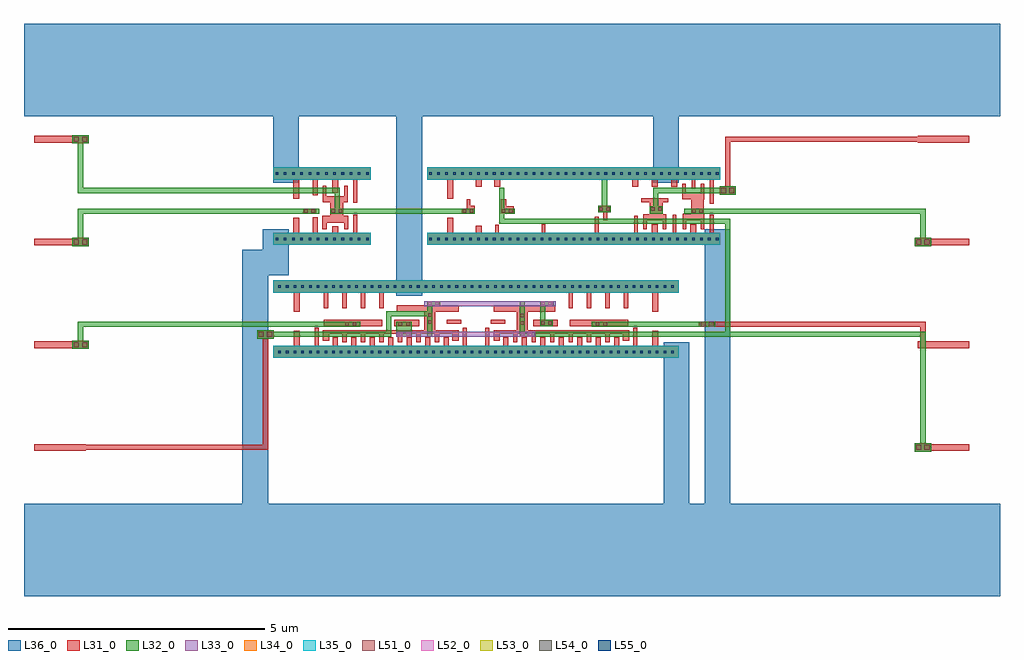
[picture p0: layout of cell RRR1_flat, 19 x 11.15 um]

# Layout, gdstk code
import gdstk
lib = gdstk.Library(unit=1e-6, precision=1e-09)
def R(c, l, rs):  # rectangles x0, y0, x1, y1
    for r in rs: c.add(gdstk.rectangle(r[:2], r[2:], *l))
def A(c, l, x, y, w, h, nx, ny, dx, dy):  # array of equal rectangles
    R(c, l, [(x+i*dx, y+j*dy, x+i*dx+w, y+j*dy+h) for i in range(nx) for j in range(ny)])
L31_0 = (31, 0)
L32_0 = (32, 0)
L33_0 = (33, 0)
L34_0 = (34, 0)
L35_0 = (35, 0)
L36_0 = (36, 0)
L51_0 = (51, 0)
L52_0 = (52, 0)
L53_0 = (53, 0)
L54_0 = (54, 0)
L55_0 = (55, 0)

rrr1_flat = lib.new_cell('RRR1_flat')
A(rrr1_flat, L31_0, -0.5, -0.065, 1, 0.13, 1, 4, 0, 2)
A(rrr1_flat, L31_0, 16.7, -0.065, 1, 0.13, 1, 4, 0, 2)
A(rrr1_flat, L31_0, 0.24, 1.92, 0.32, 0.16, 1, 3, 0, 2)
A(rrr1_flat, L31_0, 5.31, 1.98, 0.1, 0.16, 7, 1, 0.36, 0)
A(rrr1_flat, L31_0, 8.63, 1.98, 0.1, 0.16, 7, 1, 0.36, 0)
A(rrr1_flat, L31_0, 5.5, 2.05, 0.08, 0.23, 5, 1, 0.36, 0)
A(rrr1_flat, L31_0, 9.54, 2.05, 0.08, 0.23, 4, 1, 0.36, 0)
A(rrr1_flat, L31_0, 5.58, 2.21, 0.28, 0.07, 4, 1, 0.36, 0)
A(rrr1_flat, L31_0, 9.62, 2.21, 0.28, 0.07, 3, 1, 0.36, 0)
A(rrr1_flat, L31_0, 5.14, 2.71, 0.08, 0.54, 4, 1, 0.36, 0)
A(rrr1_flat, L31_0, 9.9, 2.71, 0.08, 0.54, 4, 1, 0.36, 0)
A(rrr1_flat, L31_0, 5.22, 3.01, 0.28, 0.24, 3, 1, 0.36, 0)
A(rrr1_flat, L31_0, 9.98, 3.01, 0.28, 0.24, 3, 1, 0.36, 0)
A(rrr1_flat, L31_0, 11.14, 5.075, 0.12, 0.375, 3, 1, 0.38, 0)
R(rrr1_flat, L31_0, [(16.64,-0.08,16.96,0.08), (0.35,-0.05,4.05,0.05), (3.95,-0.05,4.05,2.25), (4.15,1.75,4.89,1.98), (4.89,1.75,8.14,1.98), (8.06,1.75,11.31,1.98), (11.31,1.75,12.05,1.98), (16.75,1.95,16.85,2.45), (4.55,1.98,4.67,2.275), (4.96,1.98,5.04,2.33), (7.84,1.98,7.92,2.33), (8.28,1.98,8.36,2.33), (11.16,1.98,11.24,2.33), (11.53,1.98,11.65,2.275), (7.3,2.05,7.38,2.21), (8.82,2.05,8.895,2.28), (8.895,2.05,8.9,2.77), (9.18,2.05,9.26,2.21), (5.12,2.075,5.24,2.28), (7.64,2.075,7.76,2.21), (8.44,2.075,8.56,2.28), (10.96,2.075,11.08,2.28), (3.84,2.12,4.16,2.28), (5.24,2.21,5.5,2.28), (7.02,2.21,7.76,2.28), (8.56,2.21,8.82,2.28), (8.9,2.21,9.105,2.77), (9.105,2.21,9.54,2.28), (10.7,2.21,10.96,2.28), (7.095,2.28,7.305,2.77), (12.44,2.35,12.76,2.45), (12.55,2.35,16.85,2.45), (5.135,2.36,6.275,2.49), (6.51,2.36,6.99,2.49), (9.21,2.36,9.69,2.49), (9.925,2.36,11.065,2.49), (7.53,2.405,7.81,2.49), (8.39,2.405,8.67,2.49), (6.56,2.64,7.095,2.77), (7.305,2.64,7.76,2.77), (8.44,2.64,8.895,2.77), (9.105,2.64,9.64,2.77), (4.55,2.645,4.67,3.25), (11.53,2.645,11.65,3.25), (4.15,3.01,4.55,3.25), (4.67,3.01,4.89,3.25), (4.89,3.01,5.14,3.25), (6.3,3.01,8.14,3.25), (8.06,3.01,9.9,3.25), (11.06,3.01,11.31,3.25), (11.31,3.01,11.53,3.25), (11.65,3.01,12.05,3.25), (16.64,3.92,16.96,4.08), (4.15,3.95,4.88,4.18), (4.88,3.95,6.05,4.18), (7.15,3.95,7.88,4.18), (7.88,3.95,12.85,4.18), (4.54,4.18,4.66,4.475), (4.92,4.18,5.02,4.48), (5.3,4.18,5.42,4.305), (5.71,4.18,5.79,4.53), (7.54,4.18,7.66,4.475), (8.09,4.18,8.21,4.315), (8.475,4.18,8.545,4.335), (9.38,4.18,9.45,4.345), (10.415,4.18,10.485,4.495), (11.175,4.18,11.245,4.51), (11.52,4.18,11.64,4.34), (11.925,4.18,11.995,4.53), (12.27,4.18,12.39,4.34), (12.65,4.18,12.73,4.53), (5.11,4.25,5.19,4.51), (5.53,4.25,5.61,4.375), (11.355,4.25,11.425,4.54), (11.735,4.25,11.805,4.42), (12.12,4.25,12.19,4.55), (12.475,4.25,12.535,5.13), (12.535,4.25,12.545,4.55), (5.19,4.375,5.61,4.51), (10.575,4.42,10.65,4.705), (11.425,4.42,11.805,4.54), (12.19,4.42,12.285,4.55), (12.285,4.42,12.475,4.97), (5.265,4.51,5.515,4.77), (11.485,4.54,11.735,4.85), (4.735,4.55,4.985,4.65), (7.82,4.55,8.07,4.65), (7.915,4.55,8.07,4.705), (8.58,4.555,8.83,4.69), (10.475,4.575,10.575,4.705), (10.65,4.575,10.725,4.705), (8.58,4.69,8.685,4.83), (7.915,4.705,7.985,4.835), (12.65,4.745,12.73,5.21), (5.71,4.76,5.79,5.21), (5.115,4.77,5.185,5.095), (5.185,4.77,5.605,4.885), (11.32,4.77,11.485,4.85), (11.735,4.77,11.84,4.85), (12.115,4.83,12.185,5.13), (12.185,4.83,12.285,4.97), (12.535,4.83,12.545,5.13), (4.54,4.845,4.66,5.45), (7.54,4.845,7.66,5.45), (5.535,4.885,5.605,5.095), (4.92,4.91,5.02,5.21), (12.84,4.92,13.16,5.08), (12.95,4.95,13.05,6.05), (5.3,4.955,5.42,5.45), (12.295,5.04,12.365,5.45), (8.09,5.075,8.21,5.45), (8.45,5.075,8.57,5.45), (4.15,5.21,4.54,5.45), (4.66,5.21,4.88,5.45), (4.88,5.21,5.3,5.45), (5.42,5.21,6.05,5.45), (7.15,5.21,7.54,5.45), (7.66,5.21,7.88,5.45), (7.88,5.21,8.09,5.45), (8.21,5.21,8.45,5.45), (8.57,5.21,11.14,5.45), (11.26,5.21,11.52,5.45), (11.64,5.21,11.9,5.45), (12.02,5.21,12.295,5.45), (12.365,5.21,12.85,5.45), (12.95,5.95,16.85,6.05)])
A(rrr1_flat, L32_0, 0.24, 1.92, 0.32, 0.16, 1, 3, 0, 2)
R(rrr1_flat, L32_0, [(16.64,-0.08,16.96,0.08), (16.75,-0.05,16.85,2.25), (4.15,1.75,12.05,1.98), (0.35,1.95,0.45,2.45), (3.84,2.12,4.16,2.28), (3.95,2.15,6.45,2.25), (6.35,2.15,6.45,2.65), (6.55,2.15,6.85,2.45), (7.15,2.15,7.25,2.85), (8.95,2.15,9.21,2.25), (8.95,2.15,9.05,2.85), (8.95,2.15,13.05,2.25), (12.95,2.15,13.05,4.45), (12.95,2.15,16.85,2.25), (0.35,2.35,4.25,2.45), (4.15,2.35,5.85,2.45), (10.35,2.35,12.05,2.45), (11.95,2.35,12.65,2.45), (12.44,2.35,12.76,2.45), (9.35,2.36,9.59,2.49), (9.35,2.36,9.45,2.85), (6.35,2.55,7.25,2.65), (7.16,2.75,7.4,2.85), (9.35,2.75,9.61,2.85), (4.15,3.01,12.05,3.25), (16.64,3.92,16.96,4.08), (0.35,3.95,0.45,4.65), (4.15,3.95,6.05,4.18), (7.15,3.95,12.85,4.18), (16.75,3.95,16.85,4.65), (8.55,4.35,13.05,4.45), (8.55,4.35,8.65,4.65), (0.35,4.55,4.25,4.65), (4.15,4.55,5.05,4.65), (5.265,4.55,6.05,4.65), (5.35,4.55,5.45,5.05), (5.95,4.55,7.25,4.65), (7.15,4.55,8.07,4.65), (8.55,4.55,8.65,5.055), (8.55,4.55,8.85,4.65), (11.485,4.55,11.735,4.695), (11.55,4.55,11.65,5.05), (12.15,4.55,12.85,4.65), (12.75,4.55,16.85,4.65), (10.475,4.575,10.725,4.705), (10.55,4.575,10.65,5.45), (12.84,4.92,13.16,5.08), (0.35,4.95,5.45,5.05), (0.35,4.95,0.45,6.05), (11.55,4.95,13.05,5.05), (4.15,5.21,6.05,5.45), (7.15,5.21,12.85,5.45)])
R(rrr1_flat, L33_0, [(4.15,1.75,12.05,1.98), (6.55,2.15,9.25,2.25), (7.095,2.75,9.65,2.85), (4.15,3.01,12.05,3.25), (4.15,3.95,6.05,4.18), (7.15,3.95,12.85,4.18), (4.15,5.21,6.05,5.45), (7.15,5.21,12.85,5.45)])
R(rrr1_flat, L34_0, [(4.15,1.75,12.05,1.98), (4.15,3.01,12.05,3.25), (4.15,3.95,6.05,4.18), (7.15,3.95,12.85,4.18), (4.15,5.21,6.05,5.45), (7.15,5.21,12.85,5.45)])
R(rrr1_flat, L35_0, [(4.15,1.75,12.05,1.98), (4.15,3.01,12.05,3.25), (4.15,3.95,6.05,4.18), (7.15,3.95,12.85,4.18), (4.15,5.21,6.05,5.45), (7.15,5.21,12.85,5.45)])
R(rrr1_flat, L36_0, [(-0.7,-2.9,18.3,-1.1), (3.55,-1.45,4.05,3.85), (11.75,-1.45,12.25,2.05), (12.55,-1.45,13.05,4.25), (4.15,1.75,12.05,1.98), (6.55,2.95,7.05,6.85), (4.15,3.01,12.05,3.25), (3.55,3.35,4.45,3.85), (3.95,3.35,4.45,4.25), (4.15,3.95,6.05,4.18), (7.15,3.95,12.85,4.18), (4.15,5.15,4.65,6.85), (11.55,5.15,12.05,6.85), (4.15,5.21,6.05,5.45), (7.15,5.21,12.85,5.45), (-0.7,6.45,18.3,8.25)])
A(rrr1_flat, L51_0, 4.25, 1.835, 0.05, 0.05, 52, 2, 0.15, 1.27)
A(rrr1_flat, L51_0, 0.27, 1.95, 0.1, 0.1, 1, 3, 0, 2)
A(rrr1_flat, L51_0, 0.43, 1.95, 0.1, 0.1, 1, 3, 0, 2)
A(rrr1_flat, L51_0, 4.2, 4.035, 0.05, 0.05, 12, 2, 0.16, 1.27)
A(rrr1_flat, L51_0, 7.19, 4.035, 0.05, 0.05, 37, 2, 0.155, 1.27)
R(rrr1_flat, L51_0, [(16.67,-0.05,16.77,0.05), (16.83,-0.05,16.93,0.05), (3.87,2.15,3.97,2.25), (4.03,2.15,4.13,2.25), (12.47,2.35,12.57,2.45), (12.63,2.35,12.73,2.45), (5.55,2.37,5.62,2.44), (5.7,2.37,5.77,2.44), (6.59,2.37,6.66,2.44), (6.745,2.37,6.815,2.44), (10.43,2.37,10.5,2.44), (10.58,2.37,10.65,2.44), (8.965,2.39,9.035,2.46), (9.365,2.39,9.435,2.46), (9.505,2.39,9.575,2.46), (7.165,2.405,7.235,2.475), (8.965,2.53,9.035,2.6), (7.165,2.545,7.235,2.615), (16.67,3.95,16.77,4.05), (16.83,3.95,16.93,4.05), (4.755,4.565,4.825,4.635), (4.895,4.565,4.965,4.635), (5.285,4.565,5.355,4.635), (5.425,4.565,5.495,4.635), (7.84,4.565,7.91,4.635), (7.98,4.565,8.05,4.635), (8.6,4.565,8.67,4.635), (8.74,4.565,8.81,4.635), (12.305,4.565,12.375,4.635), (12.445,4.565,12.515,4.635), (10.495,4.605,10.565,4.675), (10.635,4.605,10.705,4.675), (11.505,4.605,11.575,4.675), (11.645,4.605,11.715,4.675), (12.87,4.95,12.97,5.05), (13.03,4.95,13.13,5.05)])
A(rrr1_flat, L52_0, 4.25, 1.835, 0.05, 0.05, 52, 2, 0.15, 1.27)
A(rrr1_flat, L52_0, 4.2, 4.035, 0.05, 0.05, 12, 2, 0.16, 1.27)
A(rrr1_flat, L52_0, 7.19, 4.035, 0.05, 0.05, 37, 2, 0.155, 1.27)
R(rrr1_flat, L52_0, [(6.59,2.165,6.66,2.235), (6.745,2.165,6.815,2.235), (8.97,2.165,9.04,2.235), (9.11,2.165,9.18,2.235), (7.17,2.765,7.24,2.835), (7.31,2.765,7.38,2.835), (9.37,2.765,9.44,2.835), (9.51,2.765,9.58,2.835)])
A(rrr1_flat, L53_0, 4.25, 1.835, 0.05, 0.05, 52, 2, 0.15, 1.27)
A(rrr1_flat, L53_0, 4.2, 4.035, 0.05, 0.05, 12, 2, 0.16, 1.27)
A(rrr1_flat, L53_0, 7.19, 4.035, 0.05, 0.05, 37, 2, 0.155, 1.27)
A(rrr1_flat, L54_0, 4.25, 1.835, 0.05, 0.05, 52, 2, 0.15, 1.27)
A(rrr1_flat, L54_0, 4.2, 4.035, 0.05, 0.05, 12, 2, 0.16, 1.27)
A(rrr1_flat, L54_0, 7.19, 4.035, 0.05, 0.05, 37, 2, 0.155, 1.27)
A(rrr1_flat, L55_0, 4.25, 1.835, 0.05, 0.05, 52, 2, 0.15, 1.27)
A(rrr1_flat, L55_0, 4.2, 4.035, 0.05, 0.05, 12, 2, 0.16, 1.27)
A(rrr1_flat, L55_0, 7.19, 4.035, 0.05, 0.05, 37, 2, 0.155, 1.27)

lib.write_gds('RRR1_flat.gds')
